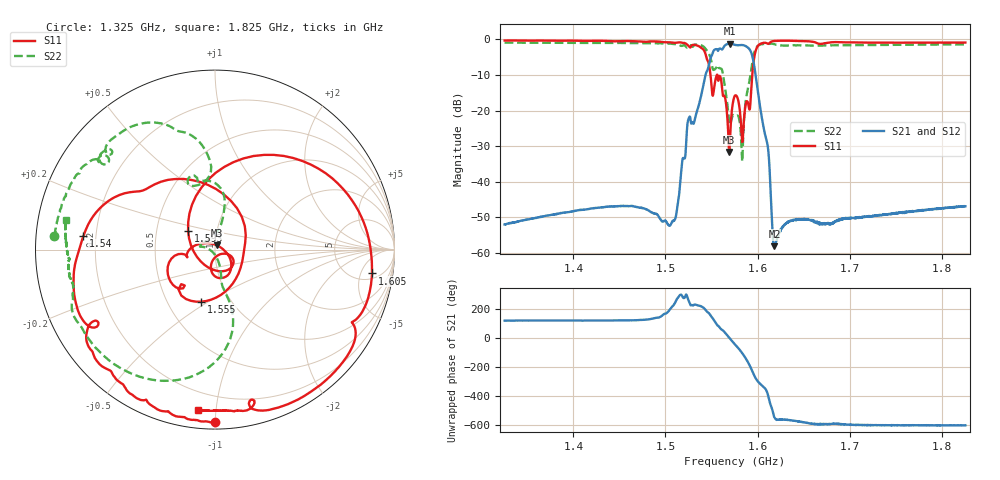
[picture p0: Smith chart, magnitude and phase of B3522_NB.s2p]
! Matrix data file written by TouchstoneData, EPCOS AG
! FILENAME: "newformat_LP86B_NB.s2p"
! COMMENT: "PCB QCC8D1_26  6 Jun 2006 S11-KEIN KOMMENTAR"
! INFO: nport=2, nfreq=1601
! DATE: "Wed Jan  9 15:27:59 2013"
! USER: "Michael Schemies"
! port | pin | signal
!  1  |  2  |  in
!  2  |  5  |  out
# MHZ S MA R 50
! freq  magS11 angS11  magS21 angS21  magS12 angS12  magS22 angS22
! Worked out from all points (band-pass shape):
!   1601 points, 1.325 GHz to 1.825 GHz, reference 50 ohm
!   highest |S21| = -1.22 dB at 1.57 GHz (marker M1); lowest = -58.1 dB at 1.618 GHz (marker M2)
!   |S21| within 3 dB of the highest: 1.551 GHz to 1.594 GHz (42.9 MHz wide, 2.73 % of centre)
!   lowest |S11| = -31.7 dB at 1.569 GHz (marker M3), VSWR 1.05, Z = 51.1 + j2.4 ohm
!   |S11| at or under -10 dB: 1.548803 GHz to 1.555814 GHz (7.011 MHz wide, 0.452 % of centre); 1.556 GHz to 1.594 GHz (37.79 MHz wide, 2.4 % of centre)
!   |S22| runs from -34.3 to -0.9 dB; largest |S21 - S12| = 0.0027
!   S11 on the Smith chart (normalised r, x): 1.325 GHz: 0.04, -1.00; 1.54 GHz: 0.15, +0.05; 1.555 GHz: 0.73, -0.47; 1.593 GHz: 0.72, +0.16; 1.605 GHz: 7, -8; 1.825 GHz: 0.09, -0.90
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1325.42  0.9616 -90.0  0.002507 118.8  0.002485 119.4  0.8975 175.1
1408.858  0.9508 -100.1  0.004009 119.4  0.00401 119.7  0.8917 167.7
1492.295  0.9303 -120.9  0.003279 140.0  0.003303 140.3  0.8779 153.3
1510.108  0.8914 -130.8  0.00293 -120.7  0.002939 -120.8  0.8562 145.6
1525.108  0.8051 -149.4  0.07695 -103.0  0.07695 -103.1  0.8208 141.7
1540.108  0.7372 174.1  0.1972 -146.7  0.1974 -146.6  0.808 119.3
1546.983  0.4511 119.3  0.4359 171.7  0.4366 171.7  0.6413 100.9
1551.045  0.1628 0.0  0.6332 137.0  0.6342 136.9  0.3931 96.6
1555.108  0.3004 -104.9  0.7277 97.1  0.7276 97.0  0.3992 112.2
1569.17  0.02613 63.8  0.8691 0.3  0.869 0.3  0.06956 102.2
1570.108  0.04324 4.5  0.8694 -6.8  0.8691 -6.8  0.06304 122.3
1575.42  0.1622 -67.5  0.8347 -45.5  0.8342 -45.6  0.0838 159.7
1583.858  0.03987 -39.3  0.8299 -110.9  0.8293 -111.0  0.02974 -90.0
1588.858  0.1339 -57.1  0.775 -160.8  0.7742 -160.9  0.1874 -78.7
1592.92  0.1837 144.7  0.656 148.0  0.6547 147.9  0.3676 -74.6
1597.608  0.6716 49.4  0.3252 83.4  0.3236 83.3  0.7271 -101.5
1605.108  0.8847 -8.6  0.07157 29.3  0.0712 29.3  0.8556 -135.4
1611.045  0.8655 -27.7  0.03094 -31.1  0.03078 -31.2  0.8609 -148.4
1618.233  0.9476 -40.2  0.001243 170.5  0.00124 170.6  0.8521 -159.4
1658.858  0.927 -75.0  0.002838 127.8  0.002826 128.0  0.8171 -175.8
1742.295  0.8978 -88.6  0.003524 117.3  0.00353 117.4  0.8364 174.4
1825.42  0.9 -96.1  0.004522 115.9  0.004543 116.1  0.8467 168.6
